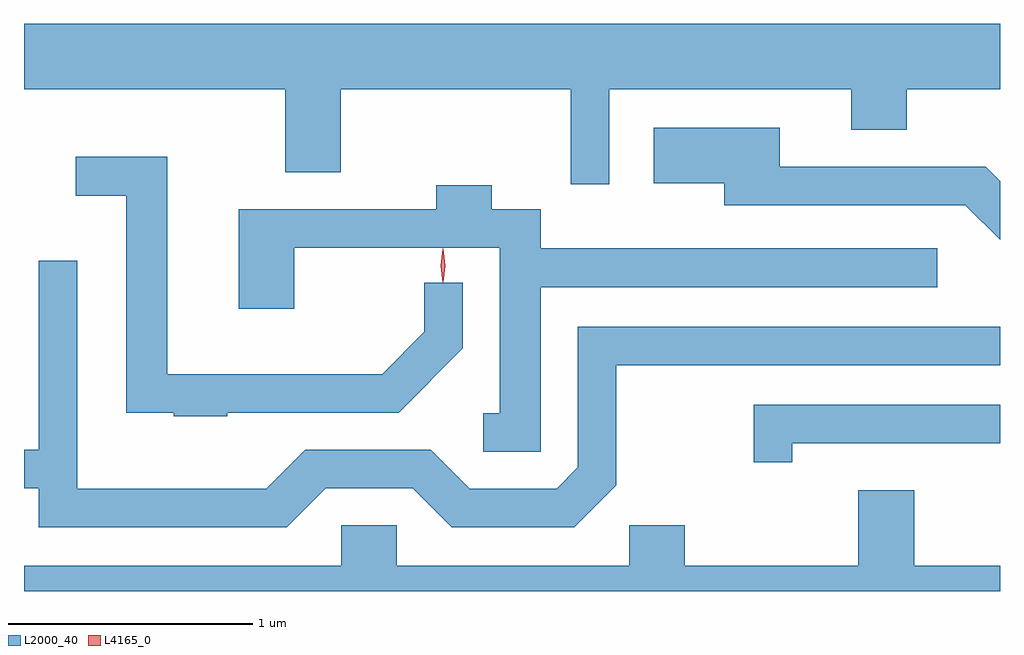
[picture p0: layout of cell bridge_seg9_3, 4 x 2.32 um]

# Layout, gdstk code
import gdstk
lib = gdstk.Library(unit=1e-6, precision=1e-09)
def P(c, l, *ps):  # polygons
    for p in ps: c.add(gdstk.Polygon(p, *l))
L2000_40 = (2000, 40)
L4165_0 = (4165, 0)

bridge_seg9_3 = lib.new_cell('bridge_seg9_3')
P(bridge_seg9_3, L2000_40, [(1747.999,2027.336),(1748.991,2027.336),(1748.991,2027.171),(1749.219,2027.171),(1749.219,2027.336),(1749.601,2027.336),(1749.601,2027.604),(1745.601,2027.604),(1745.601,2027.336),(1746.671,2027.336),(1746.671,2026.996),(1746.899,2026.996),(1746.899,2027.336),(1747.841,2027.336),(1747.841,2026.948),(1747.999,2026.948)],
  [(1749.601,2026.96),(1749.542,2027.019),(1748.699,2027.019),(1748.699,2027.179),(1748.181,2027.179),(1748.181,2026.951),(1748.471,2026.951),(1748.471,2026.861),(1749.459,2026.861),(1749.601,2026.719)],
  [(1746.435,2026.011),(1747.137,2026.011),(1747.399,2026.274),(1747.399,2026.543),(1747.241,2026.543),(1747.241,2026.342),(1747.069,2026.169),(1746.189,2026.169),(1746.189,2027.059),(1745.813,2027.059),(1745.813,2026.901),(1746.021,2026.901),(1746.021,2026.011),(1746.215,2026.011),(1746.215,2025.996),(1746.435,2025.996)],
  [(1747.719,2026.526),(1749.343,2026.526),(1749.343,2026.684),(1747.719,2026.684),(1747.719,2026.844),(1747.519,2026.844),(1747.519,2026.944),(1747.291,2026.944),(1747.291,2026.844),(1746.481,2026.844),(1746.481,2026.436),(1746.709,2026.436),(1746.709,2026.686),(1747.551,2026.686),(1747.551,2026.009),(1747.483,2026.009),(1747.483,2025.851),(1747.719,2025.851)],
  [(1746.837,2025.701),(1747.194,2025.701),(1747.354,2025.541),(1747.857,2025.541),(1748.029,2025.714),(1748.029,2026.206),(1749.601,2026.206),(1749.601,2026.364),(1747.871,2026.364),(1747.871,2025.787),(1747.784,2025.699),(1747.427,2025.699),(1747.267,2025.859),(1746.754,2025.859),(1746.594,2025.699),(1745.819,2025.699),(1745.819,2026.633),(1745.661,2026.633),(1745.661,2025.859),(1745.601,2025.859),(1745.601,2025.701),(1745.661,2025.701),(1745.661,2025.541),(1746.677,2025.541)],
  [(1748.749,2025.886),(1749.601,2025.886),(1749.601,2026.044),(1748.591,2026.044),(1748.591,2025.808),(1748.749,2025.808)],
  [(1749.601,2025.384),(1749.249,2025.384),(1749.249,2025.694),(1749.021,2025.694),(1749.021,2025.384),(1748.309,2025.384),(1748.309,2025.549),(1748.081,2025.549),(1748.081,2025.384),(1747.129,2025.384),(1747.129,2025.549),(1746.901,2025.549),(1746.901,2025.384),(1745.601,2025.384),(1745.601,2025.28),(1749.601,2025.28)])
P(bridge_seg9_3, L4165_0, [(1747.318,2026.543),(1747.318,2026.544),(1747.308,2026.613),(1747.318,2026.682),(1747.318,2026.683),(1747.319,2026.682),(1747.328,2026.613),(1747.319,2026.544)])

lib.write_gds('bridge_seg9_3.gds')
